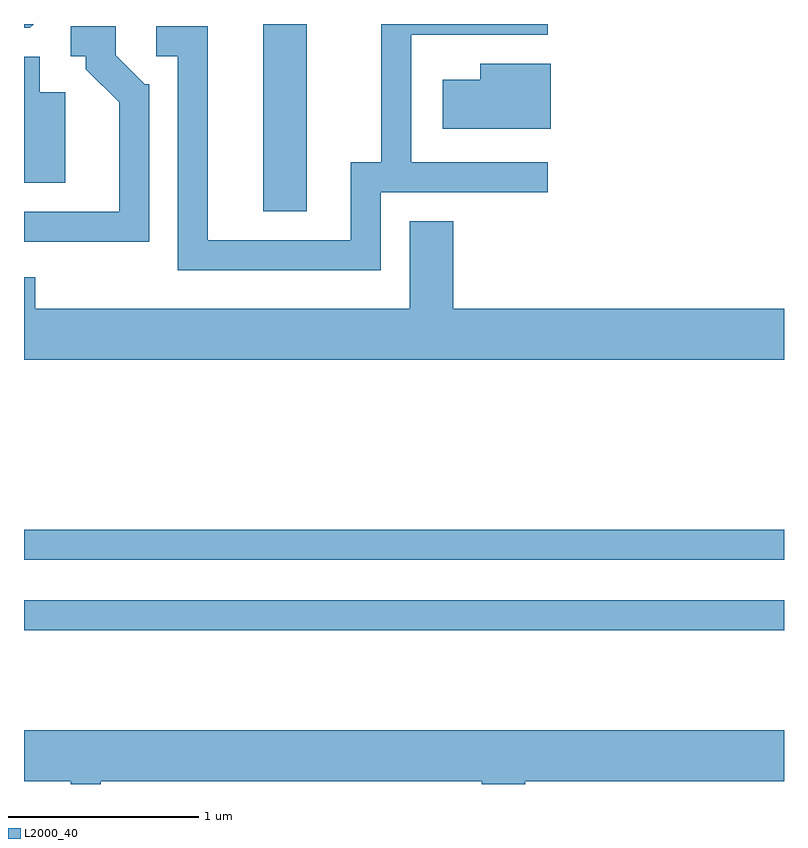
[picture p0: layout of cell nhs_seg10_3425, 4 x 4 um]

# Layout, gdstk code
import gdstk
lib = gdstk.Library(unit=1e-6, precision=1e-09)
def R(c, l, rs):  # rectangles x0, y0, x1, y1
    for r in rs: c.add(gdstk.rectangle(r[:2], r[2:], *l))
def P(c, l, *ps):  # polygons
    for p in ps: c.add(gdstk.Polygon(p, *l))
L2000_40 = (2000, 40)

nhs_seg10_3425 = lib.new_cell('nhs_seg10_3425')
R(nhs_seg10_3425, L2000_40, [(285.611,2161.331,289.611,2161.489), (285.611,2161.701,289.611,2161.859), (286.871,2163.536,287.099,2164.522)])
P(nhs_seg10_3425, L2000_40, [(287.489,2163.636),(288.368,2163.636),(288.368,2163.794),(287.649,2163.794),(287.649,2164.466),(288.368,2164.466),(288.368,2164.522),(287.491,2164.522),(287.491,2163.794),(287.331,2163.794),(287.331,2163.384),(286.579,2163.384),(286.579,2164.509),(286.308,2164.509),(286.308,2164.351),(286.421,2164.351),(286.421,2163.226),(287.489,2163.226)],
  [(285.663,2164.522),(285.611,2164.522),(285.611,2164.501),(285.642,2164.501)],
  [(286.269,2164.204),(286.247,2164.204),(286.094,2164.357),(286.094,2164.509),(285.858,2164.509),(285.858,2164.351),(285.936,2164.351),(285.936,2164.284),(286.111,2164.109),(286.111,2163.534),(285.611,2163.534),(285.611,2163.376),(286.269,2163.376)],
  [(285.829,2164.164),(285.694,2164.164),(285.694,2164.349),(285.611,2164.349),(285.611,2163.686),(285.829,2163.686)],
  [(288.384,2164.314),(288.011,2164.314),(288.011,2164.229),(287.816,2164.229),(287.816,2163.971),(288.384,2163.971)],
  [(289.611,2163.024),(287.869,2163.024),(287.869,2163.484),(287.641,2163.484),(287.641,2163.024),(285.669,2163.024),(285.669,2163.189),(285.611,2163.189),(285.611,2162.756),(289.611,2162.756)],
  [(285.611,2160.536),(285.856,2160.536),(285.856,2160.522),(286.014,2160.522),(286.014,2160.536),(288.021,2160.536),(288.021,2160.522),(288.249,2160.522),(288.249,2160.536),(289.611,2160.536),(289.611,2160.804),(285.611,2160.804)])

lib.write_gds('nhs_seg10_3425.gds')
